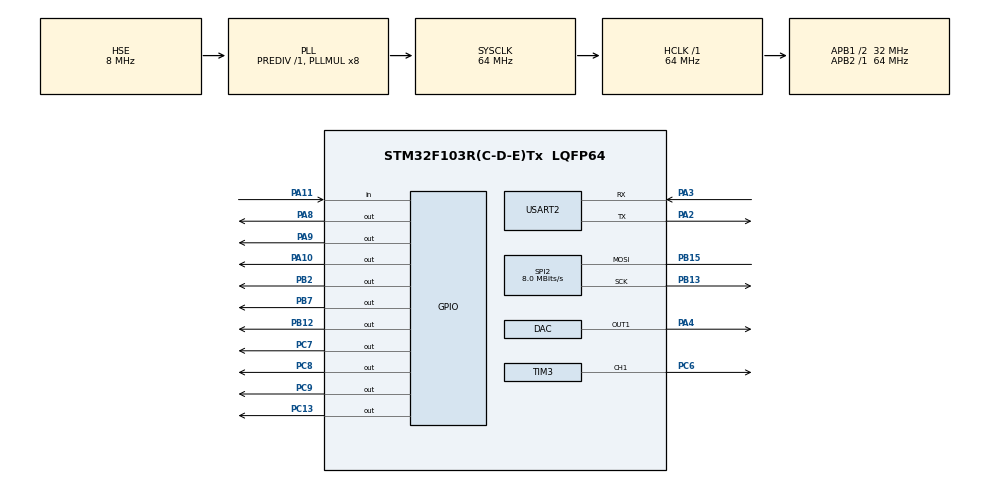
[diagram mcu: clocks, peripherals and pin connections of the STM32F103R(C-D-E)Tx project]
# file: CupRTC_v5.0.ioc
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Dma.Request0=TIM3_CH1/TRIG
Dma.TIM3_CH1/TRIG.0.Direction=DMA_MEMORY_TO_PERIPH
Dma.TIM3_CH1/TRIG.0.Instance=DMA1_Channel6
Dma.TIM3_CH1/TRIG.0.MemDataAlignment=DMA_MDATAALIGN_BYTE
Dma.TIM3_CH1/TRIG.0.MemInc=DMA_MINC_ENABLE
Dma.TIM3_CH1/TRIG.0.Mode=DMA_NORMAL
Dma.TIM3_CH1/TRIG.0.PeriphDataAlignment=DMA_PDATAALIGN_WORD
Dma.TIM3_CH1/TRIG.0.PeriphInc=DMA_PINC_DISABLE
Dma.TIM3_CH1/TRIG.0.Priority=DMA_PRIORITY_VERY_HIGH
FREERTOS.BinarySemaphores01=uartRxBinarySem,Dynamic,NULL
FREERTOS.HEAP_NUMBER=1
FREERTOS.MEMORY_ALLOCATION=0
FREERTOS.Queues01=uartRxQueue,60,uint8_t,0,Dynamic,NULL,NULL
FREERTOS.Tasks01=LCDTask,0,64,StartLCDTask,Default,NULL,Dynamic,NULL,NULL
FREERTOS.configMINIMAL_STACK_SIZE=64
FREERTOS.configTICK_RATE_HZ=1000
FREERTOS.configTOTAL_HEAP_SIZE=8192
FREERTOS.configUSE_IDLE_HOOK=0
FREERTOS.configUSE_MALLOC_FAILED_HOOK=0
FREERTOS.configUSE_TICK_HOOK=0
Mcu.Family=STM32F1
Mcu.Name=STM32F103R(C-D-E)Tx
Mcu.Package=LQFP64
NVIC.DMA1_Channel6_IRQn=true\:5\:0\:false\:false\:true\:true\:false
NVIC.PriorityGroup=NVIC_PRIORITYGROUP_4
NVIC.TIM2_IRQn=true\:0\:0\:false\:false\:true\:false\:false
NVIC.TIM6_IRQn=true\:5\:0\:false\:false\:true\:true\:true
NVIC.TimeBase=TIM2_IRQn
NVIC.TimeBaseIP=TIM2
NVIC.USART2_IRQn=true\:5\:0\:false\:false\:true\:true\:true
PA10.Signal=GPIO_Output
PA11.Signal=GPIO_Input
PA13.Mode=Serial_Wire
PA13.Signal=SYS_JTMS-SWDIO
PA14.Mode=Serial_Wire
PA14.Signal=SYS_JTCK-SWCLK
PA2.Mode=Asynchronous
PA2.Signal=USART2_TX
PA3.Mode=Asynchronous
PA3.Signal=USART2_RX
PA4.Signal=COMP_DAC1_group
PA8.Signal=GPIO_Output
PA9.Signal=GPIO_Output
PB12.Signal=GPIO_Output
PB13.Mode=Simplex_Bidirectional_Master
PB13.Signal=SPI2_SCK
PB15.Mode=Simplex_Bidirectional_Master
PB15.Signal=SPI2_MOSI
PB2.Signal=GPIO_Output
PB7.Signal=GPIO_Output
PC13-TAMPER-RTC.Signal=GPIO_Output
PC6.GPIO_Speed=GPIO_SPEED_FREQ_LOW
PC6.Signal=S_TIM3_CH1
PC7.Signal=GPIO_Output
PC8.Signal=GPIO_Output
PC9.Signal=GPIO_Output
PD0-OSC_IN.Mode=HSE-External-Oscillator
PD0-OSC_IN.Signal=RCC_OSC_IN
PD1-OSC_OUT.Mode=HSE-External-Oscillator
PD1-OSC_OUT.Signal=RCC_OSC_OUT
ProjectManager.HeapSize=0x2000
ProjectManager.StackSize=0x4000
ProjectManager.TargetToolchain=SW4STM32
RCC.AHBFreq_Value=64000000
RCC.APB1CLKDivider=RCC_HCLK_DIV2
RCC.APB1Freq_Value=32000000
RCC.APB1TimFreq_Value=64000000
RCC.APB2Freq_Value=64000000
RCC.APB2TimFreq_Value=64000000
RCC.HCLKFreq_Value=64000000
RCC.PLLMUL=RCC_PLL_MUL8
RCC.PLLSourceVirtual=RCC_PLLSOURCE_HSE
RCC.SYSCLKFreq_VALUE=64000000
RCC.SYSCLKSource=RCC_SYSCLKSOURCE_PLLCLK
RCC.USBFreq_Value=64000000
SH.COMP_DAC1_group.0=DAC_OUT1,DAC_OUT1
SH.S_TIM3_CH1.0=TIM3_CH1,PWM Generation1 CH1
SPI2.BaudRatePrescaler=SPI_BAUDRATEPRESCALER_4
SPI2.CalculateBaudRate=8.0 MBits/s
SPI2.DataSize=SPI_DATASIZE_16BIT
SPI2.Direction=SPI_DIRECTION_1LINE
SPI2.Mode=SPI_MODE_MASTER
SPI2.VirtualType=VM_MASTER
TIM3.Channel-PWM\ Generation1\ CH1=TIM_CHANNEL_1
TIM3.OCFastMode_PWM-PWM\ Generation1\ CH1=TIM_OCFAST_ENABLE
TIM3.Period=79
TIM6.Period=7999
USART2.VirtualMode=VM_ASYNC
VP_FREERTOS_VS_ENABLE.Mode=Enabled
VP_SYS_VS_tim2.Mode=TIM2
VP_TIM3_VS_ClockSourceINT.Mode=Internal
VP_TIM6_VS_ClockSourceINT.Mode=Enable_Timer
board=CupRTC_v5.0

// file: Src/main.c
/**
  ******************************************************************************
  * @file           : main.c
  * @brief          : Main program body
  ******************************************************************************
  * This notice applies to any and all portions of this file
  * that are not between comment pairs USER CODE BEGIN and
  * USER CODE END. Other portions of this file, whether
  * inserted by the user or by software development tools
  * are owned by their respective copyright owners.
  *
  * Copyright (c) 2018 STMicroelectronics International N.V.
  * All rights reserved.
  *
  * Redistribution and use in source and binary forms, with or without
  * modification, are permitted, provided that the following conditions are met:
  *
  * 1. Redistribution of source code must retain the above copyright notice,
  *    this list of conditions and the following disclaimer.
  * 2. Redistributions in binary form must reproduce the above copyright notice,
  *    this list of conditions and the following disclaimer in the documentation
  *    and/or other materials provided with the distribution.
  * 3. Neither the name of STMicroelectronics nor the names of other
  *    contributors to this software may be used to endorse or promote products
  *    derived from this software without specific written permission.
  * 4. This software, including modifications and/or derivative works of this
  *    software, must execute solely and exclusively on microcontroller or
  *    microprocessor devices manufactured by or for STMicroelectronics.
  * 5. Redistribution and use of this software other than as permitted under
  *    this license is void and will automatically terminate your rights under
  *    this license.
  *
  * THIS SOFTWARE IS PROVIDED BY STMICROELECTRONICS AND CONTRIBUTORS "AS IS"
  * AND ANY EXPRESS, IMPLIED OR STATUTORY WARRANTIES, INCLUDING, BUT NOT
  * LIMITED TO, THE IMPLIED WARRANTIES OF MERCHANTABILITY, FITNESS FOR A
  * PARTICULAR PURPOSE AND NON-INFRINGEMENT OF THIRD PARTY INTELLECTUAL PROPERTY
  * RIGHTS ARE DISCLAIMED TO THE FULLEST EXTENT PERMITTED BY LAW. IN NO EVENT
  * SHALL STMICROELECTRONICS OR CONTRIBUTORS BE LIABLE FOR ANY DIRECT, INDIRECT,
  * INCIDENTAL, SPECIAL, EXEMPLARY, OR CONSEQUENTIAL DAMAGES (INCLUDING, BUT NOT
  * LIMITED TO, PROCUREMENT OF SUBSTITUTE GOODS OR SERVICES; LOSS OF USE, DATA,
  * OR PROFITS; OR BUSINESS INTERRUPTION) HOWEVER CAUSED AND ON ANY THEORY OF
  * LIABILITY, WHETHER IN CONTRACT, STRICT LIABILITY, OR TORT (INCLUDING
  * NEGLIGENCE OR OTHERWISE) ARISING IN ANY WAY OUT OF THE USE OF THIS SOFTWARE,
  * EVEN IF ADVISED OF THE POSSIBILITY OF SUCH DAMAGE.
  *
  ******************************************************************************
  */
#include "main.h"
#include "stm32f1xx_hal.h"
#include "cmsis_os.h"
#include "dac.h"
#include "dma.h"
#include "spi.h"
#include "tim.h"
#include "usart.h"
#include "gpio.h"

/* USER CODE BEGIN Includes */
#include "defines.h"

#ifdef WS2812B_ENABLE
#include "ws2812b.h"
#endif

#ifdef LCD_ENABLE
#include "tm_stm32_hd44780.h"
#endif

#ifdef AUDIO_ENABLE
#include "audio.h"
#endif

#ifdef LED_MATRIX_ENABLE
#include "max7219.h"
#endif
/* USER CODE END Includes */

/* USER CODE BEGIN PV */
/* Private variables ---------------------------------------------------------*/
/*----------------------------------------------------------------------------*/
/*--------------------------------STATUS--------------------------------------*/
/*----------------------------------------------------------------------------*/
// Режим работы кубка. 0-нормальная работа, 1-демо режим, 2-режим обновления
uint8_t systemMode;

// Здесь хранится состояние кнопки
uint8_t playSound = 0;
/* USER CODE END PV */

void SystemClock_Config(void);
void MX_FREERTOS_Init(void);

/* USER CODE BEGIN PFP */
/* Private function prototypes -----------------------------------------------*/
/* USER CODE END PFP */

int main(void)
{

  /* MCU Configuration----------------------------------------------------------*/

  /* Reset of all peripherals, Initializes the Flash interface and the Systick. */
  HAL_Init();

  /* Configure the system clock */
  SystemClock_Config();

  /* Initialize all configured peripherals */
  MX_GPIO_Init();
  MX_DMA_Init();
  MX_DAC_Init();
  MX_SPI2_Init();
  MX_TIM3_Init();
  MX_TIM6_Init();
  MX_USART2_UART_Init();
  /* USER CODE BEGIN 2 */
	// Проводим инициализацию подключенных устройств
#ifdef LED_MATRIX_ENABLE
	// Инициализация led матрицы.
	// На вход подается значение интенсивности
	MAX729_Init(0x05);
#endif

#ifdef LCD_ENABLE
	TM_HD44780_Init(LENGTH_OF_LINE_LCD, NUMBER_OF_LINES_LCD);
#endif

#ifdef AUDIO_ENABLE
	SpeexInit();
#endif

	// Определяем режим работы
	// Если кнопка нажата, то включаем режим обновленяи
	if(!HAL_GPIO_ReadPin(BUTTON_GPIO_PORT, BUTTON_GPIO_PIN))
	{
		HAL_Delay(300);
		while(!HAL_GPIO_ReadPin(BUTTON_GPIO_PORT, BUTTON_GPIO_PIN))
			HAL_Delay(100);
		systemMode = SYSTEM_MODE_UPDATE;
	}
	// Если кубок не прошит, то запускаем демо режим
	else if((*(uint32_t*)START_FLASH_PAGE == 0xFFFFFFFF) || (*(uint32_t*)START_FLASH_PAGE == 0))
	{
		systemMode = SYSTEM_MODE_DEMO;
	}
	// В противном случае включаем нормальный режим работы
	else
		systemMode = SYSTEM_MODE_NORMAL;
  /* USER CODE END 2 */

  /* Call init function for freertos objects (in freertos.c) */
  MX_FREERTOS_Init();

  /* Start scheduler */
  osKernelStart();

  /* We should never get here as control is now taken by the scheduler */

  /* Infinite loop */
	while (1)
	{

	}

}

void SystemClock_Config(void)
{

  RCC_OscInitTypeDef RCC_OscInitStruct;
  RCC_ClkInitTypeDef RCC_ClkInitStruct;

    /**Initializes the CPU, AHB and APB busses clocks
    */
  RCC_OscInitStruct.OscillatorType = RCC_OSCILLATORTYPE_HSE;
  RCC_OscInitStruct.HSEState = RCC_HSE_ON;
  RCC_OscInitStruct.HSEPredivValue = RCC_HSE_PREDIV_DIV1;
  RCC_OscInitStruct.HSIState = RCC_HSI_ON;
  RCC_OscInitStruct.PLL.PLLState = RCC_PLL_ON;
  RCC_OscInitStruct.PLL.PLLSource = RCC_PLLSOURCE_HSE;
  RCC_OscInitStruct.PLL.PLLMUL = RCC_PLL_MUL8;
  if (HAL_RCC_OscConfig(&RCC_OscInitStruct) != HAL_OK)
  {
    _Error_Handler(__FILE__, __LINE__);
  }

    /**Initializes the CPU, AHB and APB busses clocks
    */
  RCC_ClkInitStruct.ClockType = RCC_CLOCKTYPE_HCLK|RCC_CLOCKTYPE_SYSCLK
                              |RCC_CLOCKTYPE_PCLK1|RCC_CLOCKTYPE_PCLK2;
  RCC_ClkInitStruct.SYSCLKSource = RCC_SYSCLKSOURCE_PLLCLK;
  RCC_ClkInitStruct.AHBCLKDivider = RCC_SYSCLK_DIV1;
  RCC_ClkInitStruct.APB1CLKDivider = RCC_HCLK_DIV2;
  RCC_ClkInitStruct.APB2CLKDivider = RCC_HCLK_DIV1;

  if (HAL_RCC_ClockConfig(&RCC_ClkInitStruct, FLASH_LATENCY_2) != HAL_OK)
  {
    _Error_Handler(__FILE__, __LINE__);
  }

    /**Configure the Systick interrupt time
    */
  HAL_SYSTICK_Config(HAL_RCC_GetHCLKFreq()/1000);

    /**Configure the Systick
    */
  HAL_SYSTICK_CLKSourceConfig(SYSTICK_CLKSOURCE_HCLK);

  /* SysTick_IRQn interrupt configuration */
  HAL_NVIC_SetPriority(SysTick_IRQn, 15, 0);
}

void HAL_TIM_PeriodElapsedCallback(TIM_HandleTypeDef *htim)
{
  if (htim->Instance == TIM2) {
    HAL_IncTick();
  }
}

void _Error_Handler(char *file, int line)
{
	while(1)
	{
	}
}

/************************ (C) COPYRIGHT STMicroelectronics *****END OF FILE****/

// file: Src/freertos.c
/**
 ******************************************************************************
 * File Name          : freertos.c
 * Description        : Code for freertos applications
 ******************************************************************************
 * This notice applies to any and all portions of this file
 * that are not between comment pairs USER CODE BEGIN and
 * USER CODE END. Other portions of this file, whether
 * inserted by the user or by software development tools
 * are owned by their respective copyright owners.
 *
 * Copyright (c) 2018 STMicroelectronics International N.V.
 * All rights reserved.
 *
 * Redistribution and use in source and binary forms, with or without
 * modification, are permitted, provided that the following conditions are met:
 *
 * 1. Redistribution of source code must retain the above copyright notice,
 *    this list of conditions and the following disclaimer.
 * 2. Redistributions in binary form must reproduce the above copyright notice,
 *    this list of conditions and the following disclaimer in the documentation
 *    and/or other materials provided with the distribution.
 * 3. Neither the name of STMicroelectronics nor the names of other
 *    contributors to this software may be used to endorse or promote products
 *    derived from this software without specific written permission.
 * 4. This software, including modifications and/or derivative works of this
 *    software, must execute solely and exclusively on microcontroller or
 *    microprocessor devices manufactured by or for STMicroelectronics.
 * 5. Redistribution and use of this software other than as permitted under
 *    this license is void and will automatically terminate your rights under
 *    this license.
 *
 * THIS SOFTWARE IS PROVIDED BY STMICROELECTRONICS AND CONTRIBUTORS "AS IS"
 * AND ANY EXPRESS, IMPLIED OR STATUTORY WARRANTIES, INCLUDING, BUT NOT
 * LIMITED TO, THE IMPLIED WARRANTIES OF MERCHANTABILITY, FITNESS FOR A
 * PARTICULAR PURPOSE AND NON-INFRINGEMENT OF THIRD PARTY INTELLECTUAL PROPERTY
 * RIGHTS ARE DISCLAIMED TO THE FULLEST EXTENT PERMITTED BY LAW. IN NO EVENT
 * SHALL STMICROELECTRONICS OR CONTRIBUTORS BE LIABLE FOR ANY DIRECT, INDIRECT,
 * INCIDENTAL, SPECIAL, EXEMPLARY, OR CONSEQUENTIAL DAMAGES (INCLUDING, BUT NOT
 * LIMITED TO, PROCUREMENT OF SUBSTITUTE GOODS OR SERVICES; LOSS OF USE, DATA,
 * OR PROFITS; OR BUSINESS INTERRUPTION) HOWEVER CAUSED AND ON ANY THEORY OF
 * LIABILITY, WHETHER IN CONTRACT, STRICT LIABILITY, OR TORT (INCLUDING
 * NEGLIGENCE OR OTHERWISE) ARISING IN ANY WAY OUT OF THE USE OF THIS SOFTWARE,
 * EVEN IF ADVISED OF THE POSSIBILITY OF SUCH DAMAGE.
 *
 ******************************************************************************
 */

#include "FreeRTOS.h"
#include "task.h"
#include "cmsis_os.h"

/* USER CODE BEGIN Includes */
#include "defines.h"

#ifdef WS2812B_ENABLE
#include "ws2812b.h"
#endif

#ifdef LCD_ENABLE
#include "tm_stm32_hd44780.h"
#endif

#ifdef AUDIO_ENABLE
#include "audio.h"
#include "spx.h"
#endif

#ifdef LED_MATRIX_ENABLE
#include "max7219.h"
#endif

#include "otherFunctions.h"
/* USER CODE END Includes */

osThreadId LCDTaskHandle;
osMessageQId uartRxQueueHandle;
osSemaphoreId uartRxBinarySemHandle;

/* USER CODE BEGIN Variables */
osThreadId ButtonHandle;
osThreadId LEDmatrixHandle;
osThreadId AudioMessageHandle;
osThreadId RGBws2812bHandle;
osThreadId USARTHandle;

extern UART_HandleTypeDef huart2;
extern DAC_HandleTypeDef hdac;
extern TIM_HandleTypeDef htim6;

/*----------------------------------------------------------------------------*/
/*--------------------------------STATUS--------------------------------------*/
/*----------------------------------------------------------------------------*/
// Здесь хранится состояние кнопки
extern uint8_t playSound;

extern uint8_t eightbit[766][3];

/*----------------------------------------------------------------------------*/
/*--------------------------------FLASH---------------------------------------*/
/*----------------------------------------------------------------------------*/
// Здесь храниться адрес ячейки памяти с которой необходимо начинать запись/чтение
uint32_t addressDes = START_FLASH_PAGE;
// Размер(в байтах) всех полученных данных
uint16_t allDataSize;

// Режим работы кубка. 0-нормальная работа, 1-демо режим, 2-режим обновления
extern uint8_t systemMode;

// Массив, хранящий принимаемые данные до парсинга
uint8_t dataBuffer[60];

uint8_t rxByte;

/* USER CODE END Variables */

void StartLCDTask(void const * argument);

void MX_FREERTOS_Init(void); /* (MISRA C 2004 rule 8.1) */

/* USER CODE BEGIN FunctionPrototypes */
void StartButtonTask(void const * argument);

#ifdef LED_MATRIX_ENABLE
void StartLEDmatrixTask(void const * argument);
#endif

#ifdef AUDIO_ENABLE
void StartAudioMessageTask(void const * argument);
#endif

#ifdef WS2812B_ENABLE
void StartRGBws2812bTask(void const * argument);
#endif

void StartUSARTTask(void const * argument);

HAL_StatusTypeDef USART_Receive_FromISR(UART_HandleTypeDef *huart, uint16_t Size);
/* USER CODE END FunctionPrototypes */

/* Hook prototypes */

/* Init FreeRTOS */

void MX_FREERTOS_Init(void) {

	/* Create the semaphores(s) */
	/* definition and creation of uartRxBinarySem */
	osSemaphoreDef(uartRxBinarySem);
	uartRxBinarySemHandle = osSemaphoreCreate(osSemaphore(uartRxBinarySem), 1);

	/* USER CODE BEGIN RTOS_TIMERS */
	/* start timers, add new ones, ... */
	if(systemMode != SYSTEM_MODE_UPDATE)
	{
		/* USER CODE END RTOS_TIMERS */

		/* Create the thread(s) */
		/* definition and creation of LCDTask */
		osThreadDef(LCDTask, StartLCDTask, osPriorityNormal, 0, 64);
		LCDTaskHandle = osThreadCreate(osThread(LCDTask), NULL);

		/* USER CODE BEGIN RTOS_THREADS */
		/* add threads, ... */
	}
	if(systemMode == SYSTEM_MODE_UPDATE)
	{
		/* definition and creation of USART */
		osThreadDef(USART, StartUSARTTask, osPriorityNormal, 0, 256);
		USARTHandle = osThreadCreate(osThread(USART), NULL);
	}
	else
	{
		osThreadDef(Button, StartButtonTask, osPriorityNormal, 0, 256);
		ButtonHandle = osThreadCreate(osThread(Button), NULL);

#ifdef	LED_MATRIX_ENABLE
		/* definition and creation of LEDmatrix */
		osThreadDef(LEDmatrix, StartLEDmatrixTask, osPriorityNormal, 0, 256);
		LEDmatrixHandle = osThreadCreate(osThread(LEDmatrix), NULL);
#endif

#ifdef	AUDIO_ENABLE
		/* definition and creation of AudioMessage */
		osThreadDef(AudioMessage, StartAudioMessageTask, osPriorityNormal, 0, 256);
		AudioMessageHandle = osThreadCreate(osThread(AudioMessage), NULL);
#endif
#ifdef	WS2812B_ENABLE
		/* definition and creation of RGBws2812b */
		osThreadDef(RGBws2812b, StartRGBws2812bTask, osPriorityNormal, 0, 512);
		RGBws2812bHandle = osThreadCreate(osThread(RGBws2812b), NULL);
#endif
	}
	/* USER CODE END RTOS_THREADS */

	/* Create the queue(s) */
	/* definition and creation of uartRxQueue */
	osMessageQDef(uartRxQueue, 60, uint8_t);
	uartRxQueueHandle = osMessageCreate(osMessageQ(uartRxQueue), NULL);

}

/* StartLCDTask function */
void StartLCDTask(void const * argument)
{

	/* USER CODE BEGIN StartLCDTask */
	/* Infinite loop */
	for(;;)
	{
#ifndef LCD_ENABLE
		vTaskSusped(NULL);
#endif
#ifdef LCD_ENABLE
		// Если включен демо-режим, то показываем демо-сообщение,
		// если нет, то выводим текст, записанный в память
		if(!systemMode)
		{
			for(uint8_t i = 0; i < *(uint8_t*)TEXT_REC_COUNT; i++)
			{
				if((i % 2) == 0)
				{
					TM_HD44780_Clear();
					TM_HD44780_Puts(0, 0, (uint8_t*)(TEXT1_address + i*(MAX_TEXT_SIZE + LENGTH_OF_LAST_RECORD)),
							*(uint8_t*)(SIZE_TEXT1_address + i*(MAX_TEXT_SIZE + LENGTH_OF_LAST_RECORD)));
				}
				else if((i % 2) != 0)
				{
					TM_HD44780_Puts(0, 1, (uint8_t*)(TEXT1_address + i*(MAX_TEXT_SIZE + LENGTH_OF_LAST_RECORD)),
							*(uint8_t*)(SIZE_TEXT1_address + i*(MAX_TEXT_SIZE + LENGTH_OF_LAST_RECORD)));
					osDelay(5000);
				}
			}
		}
		else
		{
			TM_HD44780_Clear();
			TM_HD44780_Puts(0, 0, (uint8_t*)"Команда N", strlen("Команда N"));
			TM_HD44780_Puts(0, 1, (uint8_t*)"Участник n1", strlen("Участник n1"));
			osDelay(5000);
			TM_HD44780_Clear();
			TM_HD44780_Puts(0, 0, (uint8_t*)"Команда N", strlen("Команда N"));
			TM_HD44780_Puts(0, 1, (uint8_t*)"Участник n2", strlen("Участник n2"));
			osDelay(5000);
			TM_HD44780_Clear();
			TM_HD44780_Puts(0, 0, (uint8_t*)"Команда N", strlen("Команда N"));
			TM_HD44780_Puts(0, 1, (uint8_t*)"Участник n3", strlen("Участник n3"));
			osDelay(5000);
			TM_HD44780_Clear();
			TM_HD44780_Puts(0, 0, (uint8_t*)"Команда N", strlen("Команда N"));
			TM_HD44780_Puts(0, 1, (uint8_t*)"Участник n4", strlen("Участник n4"));
			osDelay(5000);
			TM_HD44780_Clear();
			TM_HD44780_Puts(0, 0, (uint8_t*)"Команда N", strlen("Команда N"));
			TM_HD44780_Puts(0, 1, (uint8_t*)"Участник n5", strlen("Участник n5"));
			osDelay(5000);
			TM_HD44780_Clear();
			TM_HD44780_Puts(0, 0, (uint8_t*)"Команда N", strlen("Команда N"));
			TM_HD44780_Puts(0, 1, (uint8_t*)"Участник n6", strlen("Участник n6"));
		}
#endif
	}
	/* USER CODE END StartLCDTask */
}

/* USER CODE BEGIN Application */
/* StartButtonTask function */
void StartButtonTask(void const * argument)
{
	// Создаем счётчик для фиксации времени нажатия кнопки
	uint8_t pressTime;

	for(;;)
	{
		if(AntiContactBounce(BUTTON_GPIO_PORT, BUTTON_GPIO_PIN))
		{
			pressTime = 1;
			// Крутим счётчик до тех пор пока зажата кнопка или
			// значение счётчика меньше 255
			while((BUTTON_GPIO_PORT->IDR & BUTTON_GPIO_PIN)&&(pressTime != 255))
			{
				osDelay(100);
				pressTime++;
			}
			// Если было одно нажатие, то включай запись
			// и зависай в цикле
			if((pressTime <= 30)&&(pressTime >= 1))
			{
#ifdef WS2812B_ENABLE
				vTaskSuspend(RGBws2812bHandle);
				WS2812_send_group(0, 0, 0, 0, 0, 0, 0, 0, 0, 0, 0, 0);
#endif
#ifdef AUDIO_ENABLE
				playSound = 1;
				osDelay(100);
				vTaskResume(AudioMessageHandle);
#endif
				// Обнуляем счётчик нажатия кнопки
				pressTime = 0;
			}
		}
		osDelay(10);
	}
	/* USER CODE END StartButtonTask */
}

#ifdef LED_MATRIX_ENABLE
/* StartLEDmatrixTask function */
void StartLEDmatrixTask(void const * argument)
{
	/* USER CODE BEGIN StartLEDmatrixTask */

	/* Infinite loop */
	for(;;)
	{
		// Чистка LED матрицы от изображений
		MAX729_Clean();
		// Если включен демо режим, то крутим демо-анимацию
		// Если демо-режим выключен, то показываем место+анимация
		if(systemMode == SYSTEM_MODE_DEMO)
		{
			while(1)
			{
				// Выводим анимацию на LED matrix
				for(uint8_t i = 1; i < 4; i++)
				{
					DrawAll(i);
				}
				osDelay(1);
			}
		}
		else
		{
			// Выводим место пока не будет нажата кнопка
			switch (*(uint32_t*)START_FLASH_PAGE)
			{
			case 1:
				while(DrawAll(1))
					osDelay(1);
				break;
			case 2:
				while(DrawAll(2))
					osDelay(1);
				break;
			case 3:
				while(DrawAll(3))
					osDelay(1);
				break;
			default:
				Draw((uint8_t*)symbols, 0);  // смайлик
				break;
				// Пока сотояние кнопки не изменится на "выкл"
				// крутим особую анимацию
				while(playSound) Draw((uint8_t*)symbols, 0);
			}
		}
		osDelay(1);
	}
	/* USER CODE END StartLEDmatrixTask */
}
#endif

#ifdef AUDIO_ENABLE
/* StartAudioMessageTask function */
void StartAudioMessageTask(void const * argument)
{
	/* USER CODE BEGIN StartAudioMessageTask */
	/* Infinite loop */
	for(;;)
	{
		if(!playSound)
			vTaskSuspend(NULL);
		// Включаем прерывания по таймеру
		HAL_TIM_Base_Start_IT(&htim6);
		// Включаем ЦАП
		HAL_DAC_Start(&hdac, DAC_CHANNEL_1);

		// Если включен демо-режим, то включаем демо-запись
		if(systemMode == SYSTEM_MODE_DEMO)
			PlayMessage(&spx_voice2[0], spx_frames2);
		// В противном случае проигрываем то, что мы записали в память
		else
			PlayMessage((void*)SPEEX_address, *(uint32_t*)BLOCK_address);
		// Выключаем прерывания по таймеру
		HAL_TIM_Base_Stop_IT(&htim6);
		// Выключаем ЦАП
		HAL_DAC_Stop(&hdac, DAC_CHANNEL_1);

		vTaskResume(RGBws2812bHandle);
		playSound = 0;

		osDelay(1);
	}
	/* USER CODE END StartAudioMessageTask */
}
#endif

#ifdef WS2812B_ENABLE
/* StartRGBws2812bTask function */
void StartRGBws2812bTask(void const * argument)
{
	/* USER CODE BEGIN StartRGBws2812bTask */

	/* Infinite loop */
	for(;;)
	{
		for(uint8_t i = 0; i<=255; i++)
		{
			WS2812_combination_2(i);
			osDelay(1000);
		}
		for (uint16_t i = 0; i+50 < 765; i++)
		{
			WS2812_send_group(eightbit[i][0], eightbit[i][1], eightbit[i][2],
					eightbit[i+50][0], eightbit[i+50][1], eightbit[i+50][2],
					eightbit[i][0], eightbit[i][1], eightbit[i][2],
					eightbit[i+50][0], eightbit[i+50][1], eightbit[i+50][2]);
			osDelay(1000);

		}
		osDelay(100);
	}
	/* USER CODE END StartRGBws2812bTask */
}
#endif

/* StartUSARTTask function */
void StartUSARTTask(void const * argument)
{
	/* USER CODE BEGIN StartUSARTTask */
	/* Infinite loop */
	// Счетчик, показывающий сколько мы уже приняли байт в "data_buffer"
	uint8_t numBuff;

	// Ответ о состоянии принятого сообщения
	uint8_t answer;

	// Здесь будут храниться данные после парсинга
	RecData dataBufferPars;

	uint8_t *ptrBuff;

#ifdef LCD_ENABLE
	uint8_t updateLine;
	// Чистим экран
	TM_HD44780_Clear();
	updateLine = 0;
	// Выводим сообщение об обновлении, так как оно стёрлось
	TM_HD44780_Puts(0, 0, (uint8_t*)UPDATE_TEXT, LEN_UPDATE_TEXT);
#endif

	NVIC_EnableIRQ(USART2_IRQn);

	xSemaphoreTake(uartRxBinarySemHandle, portMAX_DELAY);

	for(;;)
	{
		// Крутимся в цикле пока не закончится обновление
		// Обнуляем счётчик полученных данных
		allDataSize = 0;
		// Сообщаем, что мы готовы к получению первого блока данных
		answer = 's';
		HAL_UART_Transmit(&huart2, (uint8_t*)&answer, 1, 0xFFFF);
		while(1)
		{
			// Крутимся в цикле пока не встретим символ окончания сообщения
			// или пока не будет переполнения буфера данных "data_buffer",
			// или пока не перестанут приходить данные

			// Присваеваем указателю адрес начала буфера
			ptrBuff = dataBuffer;
			// Обнуляем счётчик байтов в буфере "data_buffer"
			numBuff = 0;
			// По умолчанию ответное сообщение означает успешную передачу
			answer = 'g';

			USART_Receive_FromISR(&huart2, 1);

			xSemaphoreTake(uartRxBinarySemHandle, portMAX_DELAY);

			while(numBuff < SIZE_BUFF)
			{
				if(xQueueReceive(uartRxQueueHandle, ptrBuff, portMAX_DELAY) == pdTRUE)
				{
					numBuff++;
					if(*ptrBuff == '>')
						break;
					ptrBuff++;
				}
			}

			// Если переданный пакет байтов состоит лишь из <0>, то это означает конец
			// передачи. Выходим из цикла приёма пакетов
			if((*ptrBuff == '>')&&(*(ptrBuff-1) == '0')&&(*(ptrBuff-2) == '<'))
			{
				break;
			}
			// Парсим полученные данные
			dataBufferPars = parsing((char*)dataBuffer, numBuff);

#ifdef LCD_ENABLE
			// Полоска закрузки на LCD
			// Если полоска достигла окончания строки дисплея, то...
			if(!((updateLine + 1) % 17))
			{
				// Чистим экран
				TM_HD44780_Clear();
				// Обнуляем счётчик полоски
				updateLine = 0;
				// Выводим сообщение об обновлении, так как оно стёрлось
				TM_HD44780_Puts(0, 0, (uint8_t*)UPDATE_TEXT, LEN_UPDATE_TEXT);
			}
			// Выводим элемент полоски загрузки на LCD
			TM_HD44780_PutCustom(updateLine, 1, 255);
			// Увеличиваем счётчик полоски загрузки
			updateLine++;
#endif

			// Если не возникло ошибок при парсинге, то сохраняем
			// полученные данные в памяти МК
			if(dataBufferPars.command != ERR)
			{
				// Сохраняем данные в памяти
				answer = SU_FLASH_Save_User_Data(dataBufferPars, numBuff);
			}
			else
			{
				// Если возникли проблемы при записи, то переменной,
				// в которой хранится ответ приложению, присваеваем
				// символ ошибки
				answer = 'f';
			}
			// Отправляем результат работы
			HAL_UART_Transmit(&huart2, (uint8_t*)&answer, 1, 10);
		}
		// Чистим экран
		TM_HD44780_Clear();
		// Выводим сообщение об окончании обновления
		TM_HD44780_Puts(0, 0, (uint8_t*)UPDATE_END_TEXT, LEN_UPDATE_END_TEXT);
		osDelay(100);
		vTaskDelete(NULL);
	}
	/* USER CODE END StartUSARTTask */
}

HAL_StatusTypeDef USART_Receive_FromISR(UART_HandleTypeDef *huart, uint16_t Size)
{
	/* Check that a Rx process is not already ongoing */
	if(huart->RxState == HAL_UART_STATE_READY)
	{

		/* Process Locked */
		__HAL_LOCK(huart);

		huart->RxXferSize = Size;
		huart->RxXferCount = Size;

		huart->ErrorCode = HAL_UART_ERROR_NONE;
		huart->RxState = HAL_UART_STATE_BUSY_RX;

		/* Process Unlocked */
		__HAL_UNLOCK(huart);

		/* Enable the UART Parity Error Interrupt */
		__HAL_UART_ENABLE_IT(huart, UART_IT_PE);

		/* Enable the UART Error Interrupt: (Frame error, noise error, overrun error) */
		__HAL_UART_ENABLE_IT(huart, UART_IT_ERR);

		/* Enable the UART Data Register not empty Interrupt */
		__HAL_UART_ENABLE_IT(huart, UART_IT_RXNE);

		return HAL_OK;
	}
	else
	{
		return HAL_BUSY;
	}
}
/* USER CODE END Application */

/************************ (C) COPYRIGHT STMicroelectronics *****END OF FILE****/
